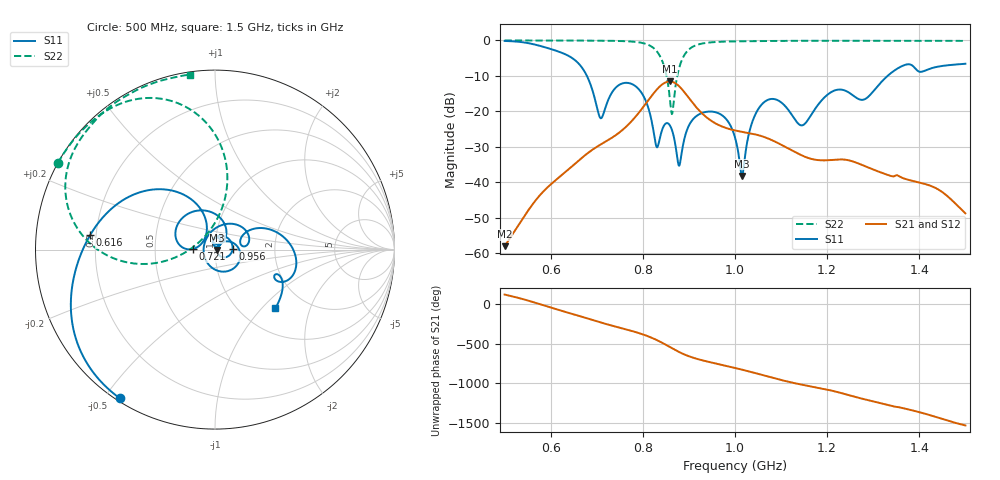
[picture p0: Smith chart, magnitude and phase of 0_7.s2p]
! TOUCHSTONE file generated by CST MICROWAVE STUDIO
! Date and time: Mon Sep 28 14:06:37 2020
! Project name: Scenario_1_Free_SPace.cst
! Parameters = {dx1=277.1; L_HA=400; MT=2.54; Rad_Dielectric=30; Rad_Lower=7.3; Rad_Upper=30; a_HA=580; a_WG=246; b_HA=500; b_WG=121; c_HA=0; c_WG=187; d_feed=85; h_feed=15; h_lower=18; h_upper=40}
! Header version: 2018
! Port assignment regex: !\s*Touchstone port\s*([0-9]+)\s*=\s*(CST MWS port|CST DS port)\s*([0-9]+|Zmin|Zmax)\s*\(\"(.*)\"\)(\s*mode\s*([0-9]+))?.*
! Touchstone port assignment:
! Touchstone port 1 = CST MWS port 1 ("")
! Touchstone port 2 = CST MWS port 2 ("")
# GHz S DB R 50
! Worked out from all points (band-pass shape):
!   1003 points, 500 MHz to 1.5 GHz, reference 50 ohm
!   highest |S21| = -11.56 dB at 858 MHz (marker M1); lowest = -57.9 dB at 500 MHz (marker M2)
!   |S21| within 3 dB of the highest: 825.5 MHz to 890 MHz (64.53 MHz wide, 7.52 % of centre)
!   lowest |S11| = -38.2 dB at 1.015 GHz (marker M3), VSWR 1.02, Z = 51.2 - j0.153 ohm
!   |S11| at or under -10 dB: 678.6 MHz to 1.331 GHz (652.4 MHz wide, 64.9 % of centre)
!   |S22| runs from -20.8 to 0.0 dB; largest |S21 - S12| = 0.00054
!   S11 on the Smith chart (normalised r, x): 500 MHz: 0.01, -0.55; 616 MHz: 0.18, +0.06; 721 MHz: 0.78, +0.00; 956 MHz: 1.22, +0.01; 1.5 GHz: 1.43, -1.20
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0.5  -0.14 -122.5  -57.95 117.1  -57.95 117.1  -0.01 151.2
0.56  -0.99 -153.2  -46.28 25.8  -46.28 25.7  -0.01 147.1
0.616  -3.09 173.4  -38.79 -74.5  -38.79 -74.5  -0.02 142.9
0.667  -7.49 128.0  -33.15 -160.5  -33.15 -160.5  -0.04 138.4
0.707  -21.71 136.4  -29.42 128.9  -29.42 128.9  -0.08 134.1
0.721  -18.09 178.7  -28.35 105.4  -28.35 105.4  -0.09 132.3
0.783  -12.78 107.7  -21.66 7.9  -21.66 7.9  -0.40 119.5
0.834  -29.18 94.9  -13.32 -105.3  -13.32 -105.3  -3.73 90.5
0.858  -23.79 64.8  -11.56 -179.9  -11.56 -179.9  -15.65 87.0
0.865  -26.00 48.1  -11.70 157.5  -11.70 157.5  -19.64 162.0
0.879  -35.29 78.9  -12.93 114.4  -12.93 114.4  -7.65 -168.9
0.906  -22.67 82.8  -17.25 49.6  -17.25 49.6  -1.95 169.2
0.956  -20.16 3.0  -23.24 -26.1  -23.24 -26.1  -0.46 148.7
1  -27.31 -52.8  -25.35 -84.6  -25.35 -84.6  -0.26 140.6
1.015  -38.18 -6.9  -25.73 -105.9  -25.73 -105.9  -0.24 138.6
1.037  -23.14 39.7  -26.26 -138.8  -26.26 -138.8  -0.21 136.0
1.064  -17.30 -1.8  -27.23 178.7  -27.23 178.7  -0.17 133.3
1.143  -23.91 -176.4  -32.26 67.3  -32.26 67.3  -0.10 126.3
1.167  -20.63 109.7  -33.41 40.7  -33.41 40.6  -0.09 124.4
1.282  -16.53 19.5  -35.41 -120.0  -35.41 -120.0  -0.08 115.6
1.334  -9.66 19.8  -38.00 168.6  -38.00 168.6  -0.09 111.6
1.5  -6.57 -44.1  -48.70 -87.3  -48.70 -87.2  -0.13 98.2
